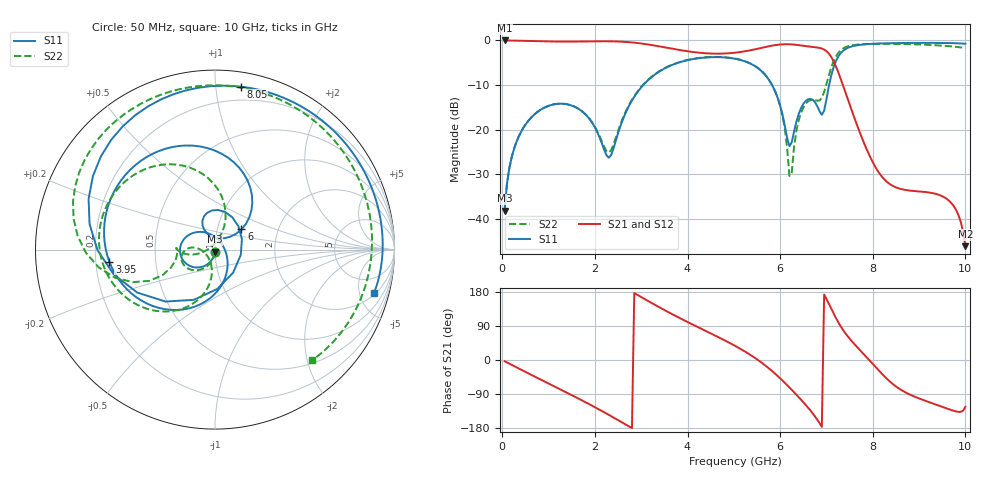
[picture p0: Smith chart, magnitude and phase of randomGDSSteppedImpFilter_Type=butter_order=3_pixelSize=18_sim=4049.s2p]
! freq	dB(S11)	phase(S11)	dB(S12)	phase(S12)
!  dB(S21)	phase(S21)	dB(S22)	phase(S22)
!S-par simulation data
#  GHz  S  DB  R 50
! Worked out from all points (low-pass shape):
!   200 points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, 50 MHz to 10 GHz, reference 50 ohm
!   highest |S21| = -0.01 dB at 50 MHz (marker M1); lowest = -46.1 dB at 10 GHz (marker M2)
!   |S21| within 3 dB of the highest: start of sweep to 7.056 GHz
!   lowest |S11| = -38.1 dB at 50 MHz (marker M3), VSWR 1.03, Z = 49.9 - j1.24 ohm
!   |S11| at or under -10 dB: start of sweep to 3.044 GHz; 5.824 GHz to 7.057 GHz (1.233 GHz wide, 19.1 % of centre)
!   |S22| runs from -38.1 to -0.8 dB; largest |S21 - S12| = 0
!   S11 on the Smith chart (normalised r, x): 50 MHz: 1.00, -0.02; 3.95 GHz: 0.26, -0.05; 6 GHz: 1.31, +0.30; 8.05 GHz: 0.10, +1.17; 10 GHz: 2.18, -6.75
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0.05  -38.12 -92.3  -0.01 -3.2  -0.01 -3.2  -38.11 -91.7
0.2  -26.28 -103.8  -0.03 -12.7  -0.03 -12.7  -26.27 -101.4
0.55  -18.17 -128.1  -0.11 -34.5  -0.11 -34.5  -18.16 -121.6
1.75  -16.13 144.4  -0.24 -108.4  -0.24 -108.4  -16.10 178.7
2.3  -26.27 32.7  -0.19 -144.7  -0.19 -144.7  -25.12 -142.2
3.4  -6.90 -134.1  -1.35 138.5  -1.35 138.5  -6.83 -130.8
3.95  -4.55 -173.5  -2.35 103.4  -2.35 103.4  -4.49 -160.6
5.05  -4.16 113.0  -2.73 35.7  -2.73 35.7  -4.11 140.5
5.6  -6.90 69.2  -1.66 -7.0  -1.66 -7.0  -6.85 103.3
6  -14.62 37.3  -0.92 -48.4  -0.92 -48.4  -14.69 71.3
6.2  -23.70 74.6  -0.86 -72.4  -0.86 -72.4  -30.38 98.9
6.4  -16.50 117.5  -1.06 -98.0  -1.06 -98.0  -17.89 -167.5
6.7  -13.28 74.7  -1.46 -140.3  -1.46 -140.3  -13.29 177.6
6.9  -16.67 -11.8  -1.82 -176.5  -1.82 -176.5  -12.87 -165.0
7.15  -6.11 -151.1  -4.58 123.9  -4.58 123.9  -4.74 -164.4
7.3  -2.94 168.5  -8.39 90.3  -8.39 90.3  -2.29 174.4
7.55  -1.33 126.7  -15.83 49.2  -15.83 49.2  -1.09 145.4
8.05  -0.73 81.0  -28.25 -16.9  -28.25 -16.9  -0.77 106.0
8.35  -0.63 62.0  -32.05 -54.8  -32.05 -54.8  -0.77 85.7
9.3  -0.55 15.1  -34.23 -114.9  -34.23 -114.9  -1.05 16.8
9.75  -0.62 -4.2  -37.14 -134.1  -37.14 -134.1  -1.38 -23.2
10  -0.74 -15.3  -46.10 -123.3  -46.10 -123.3  -1.71 -48.6
